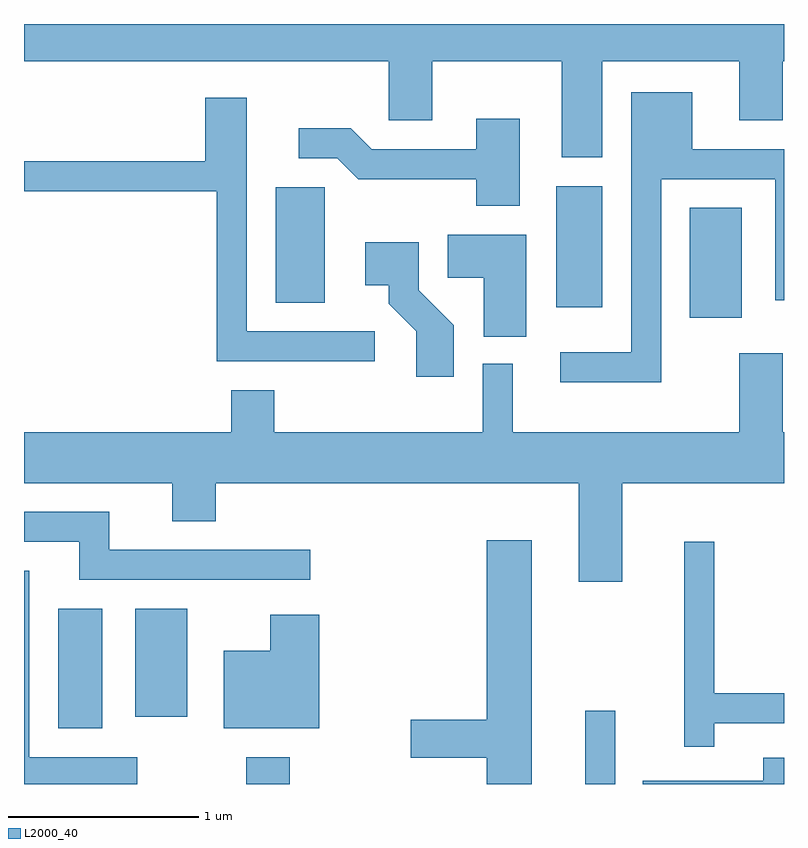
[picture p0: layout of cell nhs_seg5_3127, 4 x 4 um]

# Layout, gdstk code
import gdstk
lib = gdstk.Library(unit=1e-6, precision=1e-09)
def R(c, l, rs):  # rectangles x0, y0, x1, y1
    for r in rs: c.add(gdstk.rectangle(r[:2], r[2:], *l))
def P(c, l, *ps):  # polygons
    for p in ps: c.add(gdstk.Polygon(p, *l))
L2000_40 = (2000, 40)

nhs_seg5_3127 = lib.new_cell('nhs_seg5_3127')
R(nhs_seg5_3127, L2000_40, [(278.781,1484.072,279.009,1484.214), (280.566,1484.072,280.724,1484.458), (277.791,1484.366,278.024,1484.994), (278.196,1484.426,278.469,1484.994), (281.116,1486.526,281.389,1487.104), (280.411,1486.581,280.654,1487.219), (278.936,1486.606,279.194,1487.214)])
P(nhs_seg5_3127, L2000_40, [(280.654,1487.876),(281.376,1487.876),(281.376,1487.566),(281.604,1487.566),(281.604,1487.876),(281.611,1487.876),(281.611,1488.072),(277.611,1488.072),(277.611,1487.876),(279.531,1487.876),(279.531,1487.566),(279.759,1487.566),(279.759,1487.876),(280.441,1487.876),(280.441,1487.371),(280.654,1487.371)],
  [(280.964,1487.256),(281.566,1487.256),(281.566,1486.618),(281.611,1486.618),(281.611,1487.414),(281.129,1487.414),(281.129,1487.714),(280.806,1487.714),(280.806,1486.344),(280.433,1486.344),(280.433,1486.186),(280.964,1486.186)],
  [(279.458,1486.454),(278.784,1486.454),(278.784,1487.684),(278.566,1487.684),(278.566,1487.349),(277.611,1487.349),(277.611,1487.191),(278.626,1487.191),(278.626,1486.296),(279.458,1486.296)],
  [(280.219,1487.574),(279.991,1487.574),(279.991,1487.414),(279.442,1487.414),(279.332,1487.524),(279.058,1487.524),(279.058,1487.366),(279.259,1487.366),(279.369,1487.256),(279.991,1487.256),(279.991,1487.116),(280.219,1487.116)],
  [(280.254,1486.964),(279.841,1486.964),(279.841,1486.736),(280.031,1486.736),(280.031,1486.426),(280.254,1486.426)],
  [(279.874,1486.487),(279.689,1486.672),(279.689,1486.924),(279.406,1486.924),(279.406,1486.696),(279.531,1486.696),(279.531,1486.599),(279.676,1486.454),(279.676,1486.216),(279.874,1486.216)],
  [(280.759,1485.656),(281.611,1485.656),(281.611,1485.924),(281.604,1485.924),(281.604,1486.339),(281.376,1486.339),(281.376,1485.924),(280.184,1485.924),(280.184,1486.283),(280.026,1486.283),(280.026,1485.924),(278.929,1485.924),(278.929,1486.144),(278.701,1486.144),(278.701,1485.924),(277.611,1485.924),(277.611,1485.656),(278.391,1485.656),(278.391,1485.456),(278.619,1485.456),(278.619,1485.656),(280.531,1485.656),(280.531,1485.136),(280.759,1485.136)],
  [(279.118,1485.304),(278.059,1485.304),(278.059,1485.504),(277.611,1485.504),(277.611,1485.346),(277.901,1485.346),(277.901,1485.146),(279.118,1485.146)],
  [(280.284,1485.354),(280.046,1485.354),(280.046,1484.409),(279.646,1484.409),(279.646,1484.211),(280.046,1484.211),(280.046,1484.072),(280.284,1484.072)],
  [(281.244,1484.391),(281.611,1484.391),(281.611,1484.549),(281.244,1484.549),(281.244,1485.348),(281.086,1485.348),(281.086,1484.268),(281.244,1484.268)],
  [(278.208,1484.214),(277.639,1484.214),(277.639,1485.194),(277.611,1485.194),(277.611,1484.072),(278.208,1484.072)],
  [(279.164,1484.964),(278.906,1484.964),(278.906,1484.774),(278.661,1484.774),(278.661,1484.366),(279.164,1484.366)],
  [(281.611,1484.209),(281.501,1484.209),(281.501,1484.089),(280.868,1484.089),(280.868,1484.072),(281.611,1484.072)])

lib.write_gds('nhs_seg5_3127.gds')
